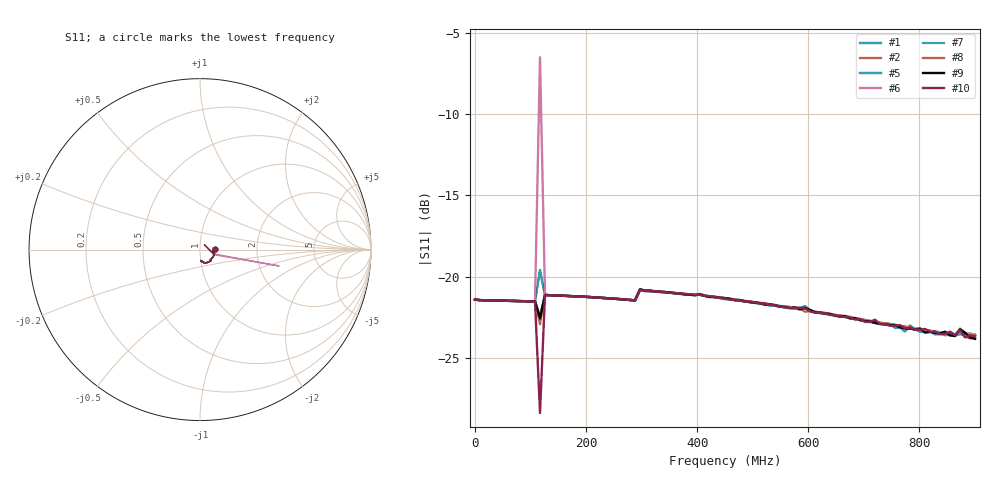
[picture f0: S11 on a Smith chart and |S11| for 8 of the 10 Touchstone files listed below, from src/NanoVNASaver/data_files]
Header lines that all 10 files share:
# HZ S RI R 50
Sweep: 50 kHz to 900 MHz
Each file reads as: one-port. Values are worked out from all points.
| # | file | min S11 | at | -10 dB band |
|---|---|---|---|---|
| 1 | 20240703-024612.s1p | -23.6 dB | 900 MHz | over 900 MHz wide |
| 2 | 20240703-024617.s1p | -23.8 dB | 891 MHz | over 900 MHz wide |
| 3 | 20240703-024622.s1p | -23.8 dB | 891 MHz | over 900 MHz wide |
| 4 | 20240703-024627.s1p | -23.8 dB | 891 MHz | over 900 MHz wide |
| 5 | 20240703-024632.s1p | -23.7 dB | 900 MHz | over 900 MHz wide |
| 6 | 20240703-024637.s1p | -23.7 dB | 864 MHz | over 780.8 MHz wide |
| 7 | 20240703-024642.s1p | -23.7 dB | 864 MHz | over 900 MHz wide |
| 8 | 20240703-024647.s1p | -23.7 dB | 891 MHz | over 900 MHz wide |
| 9 | 20240703-024652.s1p | -23.8 dB | 900 MHz | over 900 MHz wide |
| 10 | 20240703-024657.s1p | -28.4 dB | 117 MHz | over 900 MHz wide |
